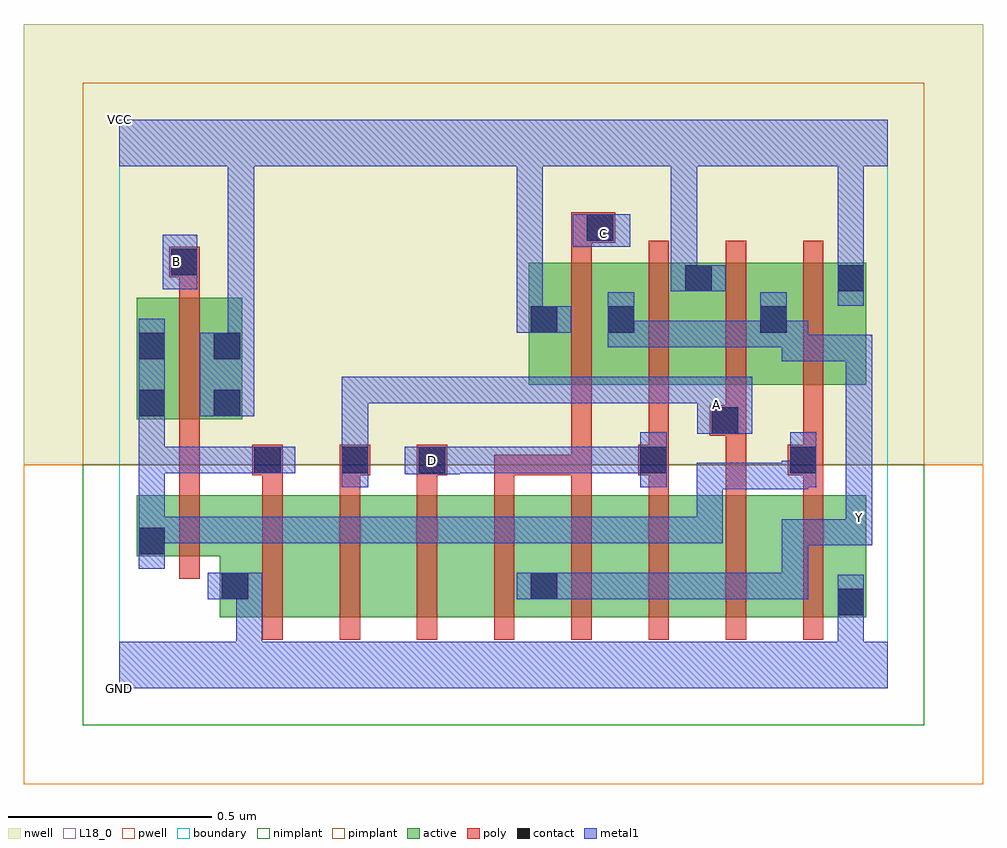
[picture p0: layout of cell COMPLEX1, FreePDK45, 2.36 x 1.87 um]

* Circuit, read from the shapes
.subckt COMPLEX1 A B C D GND VCC Y
M1 GND B n1 VSUBS nfet w=0.15u l=0.05u
M2 n2 n1 GND VSUBS nfet w=0.3u l=0.05u
M3 n3 A n2 VSUBS nfet w=0.3u l=0.05u
M4 n4 D n3 VSUBS nfet w=0.3u l=0.05u
M5 Y C n4 VSUBS nfet w=0.3u l=0.05u
M6 n5 C Y VSUBS nfet w=0.3u l=0.05u
M7 n6 D n5 VSUBS nfet w=0.3u l=0.05u
M8 n7 A n6 VSUBS nfet w=0.3u l=0.05u
M9 GND n1 n7 VSUBS nfet w=0.3u l=0.05u
M10 VCC B n1 n8 pfet w=0.3u l=0.05u
M11 Y C VCC n8 pfet w=0.3u l=0.05u
M12 VCC D Y n8 pfet w=0.3u l=0.05u
M13 Y A VCC n8 pfet w=0.3u l=0.05u
M14 VCC n1 Y n8 pfet w=0.3u l=0.05u
.ends

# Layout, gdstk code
import gdstk
lib = gdstk.Library(unit=1e-6, precision=1e-09)
def R(c, l, rs):  # rectangles x0, y0, x1, y1
    for r in rs: c.add(gdstk.rectangle(r[:2], r[2:], *l))
def A(c, l, x, y, w, h, nx, ny, dx, dy):  # array of equal rectangles
    R(c, l, [(x+i*dx, y+j*dy, x+i*dx+w, y+j*dy+h) for i in range(nx) for j in range(ny)])
active = (1, 0)
pwell = (2, 0)
nwell = (3, 0)
nimplant = (4, 0)
pimplant = (5, 0)
poly = (9, 0)
contact = (10, 0)
metal1 = (11, 0)
L18_0 = (18, 0)
boundary = (235, 0)

complex1 = lib.new_cell('COMPLEX1')
R(complex1, active, [(0.247,0.175,0.472,0.475), (0.472,0.175,0.662,0.475), (0.662,0.175,0.852,0.475), (0.852,0.175,1.082,0.475), (1.007,0.175,1.232,0.475), (1.232,0.175,1.422,0.475), (1.422,0.175,1.612,0.475), (1.612,0.175,1.837,0.475), (1.762,0.175,1.837,0.475), (1.007,0.195,1.082,0.392), (0.247,0.215,0.322,0.325), (0.042,0.325,0.322,0.475), (0.042,0.325,0.117,0.475), (0.042,0.662,0.117,0.962), (0.042,0.662,0.302,0.962), (0.227,0.662,0.302,0.962), (1.007,0.747,1.272,1.047), (1.197,0.747,1.272,1.047), (1.197,0.747,1.462,1.047), (1.387,0.747,1.647,1.047), (1.572,0.747,1.837,1.047), (1.572,0.747,1.647,0.945), (1.762,0.747,1.837,1.047), (1.007,0.775,1.082,1.047), (1.387,0.85,1.462,1.047)])
R(complex1, pwell, [(-0.235,-0.235,2.125,0.55)])
R(complex1, nwell, [(-0.235,0.55,2.125,1.635)])
R(complex1, nimplant, [(-0.09,-0.09,1.98,0.55)])
R(complex1, pimplant, [(-0.09,0.55,1.98,1.49)])
A(complex1, poly, 0.352, 0.12, 0.05, 0.41, 8, 1, 0.19, 0)
A(complex1, poly, 0.352, 0.48, 0.05, 0.095, 6, 1, 0.19, 0)
A(complex1, poly, 1.112, 0.692, 0.05, 0.41, 4, 1, 0.19, 0)
R(complex1, poly, [(0.147,0.27,0.197,0.53), (0.147,0.48,0.197,0.575), (1.492,0.48,1.542,0.672), (1.682,0.48,1.732,0.575), (0.147,0.525,0.197,0.575), (0.147,0.525,0.197,0.657), (0.327,0.525,0.402,0.6), (0.542,0.525,0.617,0.6), (0.732,0.525,0.807,0.6), (0.922,0.525,1.162,0.575), (0.922,0.525,0.972,0.575), (0.922,0.525,0.972,0.575), (0.922,0.525,0.972,0.575), (1.112,0.525,1.162,0.742), (1.112,0.525,1.162,0.575), (1.277,0.525,1.352,0.6), (1.645,0.525,1.732,0.6), (1.302,0.55,1.352,0.742), (1.682,0.55,1.732,0.742), (0.147,0.607,0.197,1.017), (1.452,0.622,1.542,0.697), (1.492,0.647,1.542,0.742), (0.147,0.967,0.197,1.062), (0.122,1.012,0.197,1.087), (1.112,1.052,1.162,1.147), (1.112,1.097,1.22,1.172)])
R(complex1, contact, [(1.767,0.18,1.832,0.245), (0.252,0.22,0.317,0.285), (1.012,0.22,1.077,0.285), (0.047,0.33,0.112,0.395), (0.332,0.53,0.397,0.595), (0.547,0.53,0.612,0.595), (0.737,0.53,0.802,0.595), (1.282,0.53,1.347,0.595), (1.65,0.53,1.715,0.595), (1.457,0.627,1.522,0.692), (0.047,0.67,0.112,0.735), (0.232,0.67,0.297,0.735), (0.047,0.81,0.112,0.875), (0.232,0.81,0.297,0.875), (1.012,0.875,1.077,0.94), (1.202,0.875,1.267,0.94), (1.577,0.875,1.642,0.94), (1.392,0.977,1.457,1.042), (1.767,0.977,1.832,1.042), (0.127,1.017,0.192,1.082), (1.15,1.102,1.215,1.167)])
R(complex1, metal1, [(0,0,1.89,0.115), (0.287,0.05,0.352,0.285), (1.767,0.05,1.832,0.21), (1.767,0.145,1.832,0.28), (0.217,0.22,0.352,0.285), (0.977,0.22,1.112,0.285), (1.047,0.22,1.112,0.285), (1.047,0.22,1.112,0.285), (1.047,0.22,1.285,0.285), (1.22,0.22,1.285,0.285), (1.22,0.22,1.285,0.285), (1.22,0.22,1.285,0.285), (1.22,0.22,1.505,0.285), (1.44,0.22,1.505,0.285), (1.44,0.22,1.505,0.285), (1.44,0.22,1.505,0.285), (1.44,0.22,1.695,0.285), (1.63,0.22,1.695,0.417), (0.047,0.295,0.112,0.43), (1.63,0.352,1.695,0.417), (1.63,0.352,1.695,0.417), (1.63,0.352,1.852,0.417), (1.787,0.352,1.852,0.417), (1.787,0.352,1.852,0.417), (1.787,0.352,1.852,0.417), (1.787,0.352,1.852,0.417), (1.787,0.352,1.852,0.487), (0.047,0.357,0.112,0.422), (0.047,0.357,0.112,0.422), (0.047,0.357,0.33,0.422), (0.265,0.357,0.33,0.422), (0.265,0.357,0.33,0.422), (0.265,0.357,0.33,0.422), (0.265,0.357,0.475,0.422), (0.41,0.357,0.475,0.422), (0.41,0.357,0.612,0.422), (0.547,0.357,0.612,0.422), (0.547,0.357,0.612,0.422), (0.547,0.357,0.612,0.422), (0.547,0.357,0.837,0.422), (0.772,0.357,0.837,0.422), (0.772,0.357,0.837,0.422), (0.772,0.357,0.837,0.422), (0.772,0.357,0.975,0.422), (0.91,0.357,0.975,0.422), (0.91,0.357,0.975,0.422), (0.91,0.357,0.975,0.422), (0.91,0.357,1.112,0.422), (1.047,0.357,1.112,0.422), (1.047,0.357,1.25,0.422), (1.185,0.357,1.25,0.422), (1.185,0.357,1.25,0.422), (1.185,0.357,1.25,0.422), (1.185,0.357,1.485,0.422), (1.42,0.357,1.485,0.422), (1.42,0.357,1.485,0.422), (1.42,0.357,1.485,0.555), (0.047,0.365,0.112,0.595), (1.787,0.422,1.852,0.87), (1.42,0.49,1.695,0.555), (1.63,0.49,1.695,0.555), (1.63,0.49,1.695,0.56), (0.547,0.495,0.612,0.63), (1.282,0.495,1.347,0.63), (1.63,0.495,1.695,0.56), (1.63,0.495,1.715,0.56), (1.65,0.495,1.715,0.63), (0.702,0.527,0.837,0.595), (0.047,0.53,0.112,0.595), (0.047,0.53,0.112,0.595), (0.047,0.53,0.112,0.595), (0.047,0.53,0.337,0.595), (0.047,0.53,0.112,0.7), (0.272,0.53,0.337,0.595), (0.272,0.53,0.362,0.595), (0.297,0.53,0.432,0.595), (0.772,0.53,0.837,0.595), (0.772,0.53,0.837,0.595), (0.772,0.53,0.975,0.595), (0.91,0.53,0.975,0.595), (0.91,0.53,0.975,0.595), (0.91,0.53,0.975,0.595), (0.91,0.53,1.112,0.595), (1.047,0.53,1.112,0.595), (1.047,0.53,1.285,0.595), (1.22,0.53,1.285,0.595), (1.22,0.53,1.347,0.595), (0.547,0.565,0.612,0.63), (0.547,0.565,0.612,0.63), (0.547,0.565,0.612,0.767), (1.422,0.627,1.557,0.767), (0.047,0.635,0.112,0.91), (0.197,0.67,0.332,0.875), (0.547,0.702,0.612,0.767), (0.547,0.702,0.75,0.767), (0.685,0.702,0.75,0.767), (0.685,0.702,0.75,0.767), (0.685,0.702,0.75,0.767), (0.685,0.702,0.975,0.767), (0.91,0.702,0.975,0.767), (0.91,0.702,1.112,0.767), (1.047,0.702,1.112,0.767), (1.047,0.702,1.112,0.767), (1.047,0.702,1.112,0.767), (1.047,0.702,1.25,0.767), (1.185,0.702,1.25,0.767), (1.185,0.702,1.25,0.767), (1.185,0.702,1.25,0.767), (1.185,0.702,1.487,0.767), (1.422,0.702,1.487,0.767), (1.422,0.702,1.487,0.767), (1.422,0.702,1.487,0.767), (1.422,0.702,1.487,0.767), (1.63,0.805,1.852,0.87), (1.63,0.805,1.695,0.905), (1.787,0.805,1.852,0.87), (0.267,0.81,0.332,1.35), (1.202,0.84,1.267,0.905), (1.202,0.84,1.267,0.905), (1.202,0.84,1.267,0.975), (1.202,0.84,1.485,0.905), (1.42,0.84,1.485,0.905), (1.42,0.84,1.485,0.905), (1.42,0.84,1.485,0.905), (1.42,0.84,1.642,0.905), (1.577,0.84,1.642,0.905), (1.577,0.84,1.642,0.975), (1.577,0.84,1.642,0.975), (1.577,0.84,1.695,0.905), (0.977,0.875,1.042,0.94), (0.977,0.875,1.042,0.94), (0.977,0.875,1.042,0.94), (0.977,0.875,1.042,0.94), (0.977,0.875,1.112,0.94), (0.977,0.875,1.042,1.35), (1.767,0.942,1.832,1.077), (1.357,0.977,1.422,1.35), (1.357,0.977,1.492,1.042), (0.107,0.982,0.192,1.117), (1.767,1.012,1.832,1.077), (1.767,1.012,1.832,1.077), (1.767,1.012,1.832,1.077), (1.767,1.012,1.832,1.077), (1.767,1.012,1.832,1.077), (1.767,1.012,1.832,1.077), (1.767,1.012,1.832,1.35), (1.115,1.087,1.257,1.167), (0,1.285,1.89,1.4), (0.267,1.285,0.332,1.35), (0.267,1.285,0.332,1.35), (0.267,1.285,0.332,1.35), (0.267,1.285,0.332,1.35), (0.267,1.285,0.332,1.35), (0.267,1.285,0.332,1.35), (0.977,1.285,1.042,1.35), (0.977,1.285,1.042,1.35), (1.357,1.285,1.422,1.35), (1.357,1.285,1.422,1.35), (1.357,1.285,1.422,1.35), (1.357,1.285,1.422,1.35), (1.357,1.285,1.422,1.35), (1.357,1.285,1.422,1.35)])
R(complex1, L18_0, [(0,0,1.89,0.115), (0.287,0.05,0.352,0.285), (1.767,0.05,1.832,0.21), (1.767,0.145,1.832,0.28), (0.217,0.22,0.352,0.285), (0.977,0.22,1.112,0.285), (1.047,0.22,1.112,0.285), (1.047,0.22,1.112,0.285), (1.047,0.22,1.285,0.285), (1.22,0.22,1.285,0.285), (1.22,0.22,1.285,0.285), (1.22,0.22,1.285,0.285), (1.22,0.22,1.505,0.285), (1.44,0.22,1.505,0.285), (1.44,0.22,1.505,0.285), (1.44,0.22,1.505,0.285), (1.44,0.22,1.695,0.285), (1.63,0.22,1.695,0.417), (1.63,0.352,1.695,0.417), (1.63,0.352,1.695,0.417), (1.63,0.352,1.852,0.417), (1.787,0.352,1.852,0.417), (1.787,0.352,1.852,0.417), (1.787,0.352,1.852,0.417), (1.787,0.352,1.852,0.417), (1.787,0.352,1.852,0.487), (1.787,0.387,1.852,0.452), (1.787,0.422,1.852,0.87), (0.547,0.495,0.612,0.63), (1.282,0.495,1.347,0.63), (0.702,0.527,0.837,0.595), (0.737,0.527,0.802,0.592), (0.772,0.53,0.837,0.595), (0.772,0.53,0.837,0.595), (0.772,0.53,0.975,0.595), (0.91,0.53,0.975,0.595), (0.91,0.53,0.975,0.595), (0.91,0.53,0.975,0.595), (0.91,0.53,1.112,0.595), (1.047,0.53,1.112,0.595), (1.047,0.53,1.285,0.595), (1.22,0.53,1.285,0.595), (1.22,0.53,1.347,0.595), (0.547,0.565,0.612,0.63), (0.547,0.565,0.612,0.63), (0.547,0.565,0.612,0.767), (1.422,0.627,1.557,0.767), (1.437,0.667,1.502,0.732), (0.197,0.67,0.332,0.875), (0.547,0.702,0.612,0.767), (0.547,0.702,0.75,0.767), (0.685,0.702,0.75,0.767), (0.685,0.702,0.75,0.767), (0.685,0.702,0.75,0.767), (0.685,0.702,0.975,0.767), (0.91,0.702,0.975,0.767), (0.91,0.702,1.112,0.767), (1.047,0.702,1.112,0.767), (1.047,0.702,1.112,0.767), (1.047,0.702,1.112,0.767), (1.047,0.702,1.25,0.767), (1.185,0.702,1.25,0.767), (1.185,0.702,1.25,0.767), (1.185,0.702,1.25,0.767), (1.185,0.702,1.487,0.767), (1.422,0.702,1.487,0.767), (1.422,0.702,1.487,0.767), (1.422,0.702,1.487,0.767), (1.422,0.702,1.487,0.767), (1.63,0.805,1.852,0.87), (1.63,0.805,1.695,0.905), (1.787,0.805,1.852,0.87), (0.267,0.81,0.332,1.35), (1.202,0.84,1.267,0.905), (1.202,0.84,1.267,0.905), (1.202,0.84,1.267,0.975), (1.202,0.84,1.485,0.905), (1.42,0.84,1.485,0.905), (1.42,0.84,1.485,0.905), (1.42,0.84,1.485,0.905), (1.42,0.84,1.642,0.905), (1.577,0.84,1.642,0.905), (1.577,0.84,1.642,0.975), (1.577,0.84,1.642,0.975), (1.577,0.84,1.695,0.905), (0.977,0.875,1.112,0.94), (0.977,0.875,1.042,0.94), (0.977,0.875,1.042,0.94), (0.977,0.875,1.042,0.94), (0.977,0.875,1.042,0.94), (0.977,0.875,1.042,1.35), (1.767,0.942,1.832,1.077), (1.357,0.977,1.492,1.042), (1.357,0.977,1.422,1.35), (0.107,0.982,0.192,1.117), (1.767,1.012,1.832,1.077), (1.767,1.012,1.832,1.077), (1.767,1.012,1.832,1.077), (1.767,1.012,1.832,1.077), (1.767,1.012,1.832,1.077), (1.767,1.012,1.832,1.077), (1.767,1.012,1.832,1.35), (0.107,1.017,0.172,1.082), (1.115,1.087,1.257,1.167), (1.157,1.087,1.222,1.152), (0,1.285,1.89,1.4), (0.267,1.285,0.332,1.35), (0.267,1.285,0.332,1.35), (0.267,1.285,0.332,1.35), (0.267,1.285,0.332,1.35), (0.267,1.285,0.332,1.35), (0.267,1.285,0.332,1.35), (0.977,1.285,1.042,1.35), (0.977,1.285,1.042,1.35), (1.357,1.285,1.422,1.35), (1.357,1.285,1.422,1.35), (1.357,1.285,1.422,1.35), (1.357,1.285,1.422,1.35), (1.357,1.285,1.422,1.35), (1.357,1.285,1.422,1.35)])
R(complex1, boundary, [(0,0,1.89,1.4)])
complex1.add(gdstk.Label('A', (1.47,0.7), layer=11, texttype=0))
complex1.add(gdstk.Label('B', (0.14,1.05), layer=11, texttype=0))
complex1.add(gdstk.Label('C', (1.19,1.12), layer=11, texttype=0))
complex1.add(gdstk.Label('D', (0.77,0.56), layer=11, texttype=0))
complex1.add(gdstk.Label('Y', (1.82,0.42), layer=11, texttype=0))
complex1.add(gdstk.Label('VCC', (0,1.4), layer=11, texttype=0))
complex1.add(gdstk.Label('GND', (0,0), layer=11, texttype=0))

lib.write_gds('COMPLEX1.gds')
